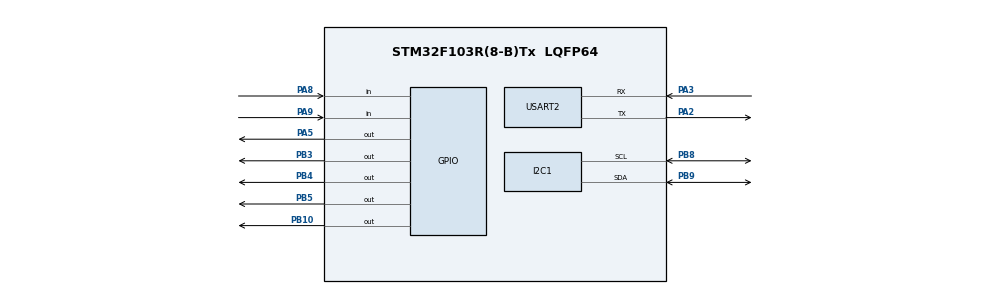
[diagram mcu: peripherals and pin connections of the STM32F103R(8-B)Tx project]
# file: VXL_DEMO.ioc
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Mcu.Family=STM32F1
Mcu.Name=STM32F103R(8-B)Tx
Mcu.Package=LQFP64
NVIC.PriorityGroup=NVIC_PRIORITYGROUP_4
NVIC.TIM2_IRQn=true\:0\:0\:false\:false\:true\:true\:true\:true
NVIC.USART2_IRQn=true\:0\:0\:false\:false\:true\:true\:true\:true
PA2.Mode=Asynchronous
PA2.Signal=USART2_TX
PA3.Mode=Asynchronous
PA3.Signal=USART2_RX
PA5.Signal=GPIO_Output
PA8.GPIO_PuPd=GPIO_PULLUP
PA8.Signal=GPIO_Input
PA9.GPIO_PuPd=GPIO_PULLUP
PA9.Signal=GPIO_Input
PB10.Signal=GPIO_Output
PB3.Signal=GPIO_Output
PB4.Signal=GPIO_Output
PB5.Signal=GPIO_Output
PB8.Mode=I2C
PB8.Signal=I2C1_SCL
PB9.Mode=I2C
PB9.Signal=I2C1_SDA
ProjectManager.HeapSize=0x200
ProjectManager.StackSize=0x400
ProjectManager.TargetToolchain=STM32CubeIDE
RCC.APB1Freq_Value=8000000
RCC.APB2Freq_Value=8000000
TIM2.Period=9
TIM2.Prescaler=7999
USART2.VirtualMode=VM_ASYNC
VP_SYS_VS_ND.Mode=No_Debug
VP_TIM2_VS_ClockSourceINT.Mode=Internal
board=custom

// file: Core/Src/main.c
/* USER CODE BEGIN Header */
/**
  ******************************************************************************
  * @file           : main.c
  * @brief          : Main program body
  ******************************************************************************
  * @attention
  *
  * Copyright (c) 2024 STMicroelectronics.
  * All rights reserved.
  *
  * This software is licensed under terms that can be found in the LICENSE file
  * in the root directory of this software component.
  * If no LICENSE file comes with this software, it is provided AS-IS.
  *
  ******************************************************************************
  */
/* USER CODE END Header */
#include "main.h"

/* USER CODE BEGIN Includes */
#include "global.h"
/* USER CODE END Includes */

/* USER CODE BEGIN PD */
#define MyI2C_LCD I2C_LCD_1
/* USER CODE END PD */

I2C_HandleTypeDef hi2c1;

TIM_HandleTypeDef htim2;

UART_HandleTypeDef huart2;

void SystemClock_Config(void);
static void MX_GPIO_Init(void);
static void MX_I2C1_Init(void);
static void MX_TIM2_Init(void);
static void MX_USART2_UART_Init(void);

/* USER CODE BEGIN 0 */
uint8_t tx_buffer[100] = "HELLO WORLD";
uint8_t rx_idx = 0;
uint8_t rx_data[6];
uint8_t rx_buffer[100];
uint8_t transfer_clpt;
/* USER CODE END 0 */

int main(void)
{

  /* MCU Configuration--------------------------------------------------------*/

  /* Reset of all peripherals, Initializes the Flash interface and the Systick. */
  HAL_Init();

  /* Configure the system clock */
  SystemClock_Config();

  /* Initialize all configured peripherals */
  MX_GPIO_Init();
  MX_I2C1_Init();
  MX_TIM2_Init();
  MX_USART2_UART_Init();
  /* USER CODE BEGIN 2 */
  HAL_TIM_Base_Start_IT (& htim2 );
  HAL_UART_Receive_IT(&huart2, rx_data, 1);
  /* USER CODE END 2 */

  /* Infinite loop */
  /* USER CODE BEGIN WHILE */
  SCH_Init();
  SCH_Add_Task(BlinkLed,0,1000);
  SCH_Add_Task(Run_Traffic_Light,0,100);
  //SCH_Add_Task(getKeyInput, 0 , 1);
  while (1)
  {
    /* USER CODE END WHILE */

    /* USER CODE BEGIN 3 */
	  SCH_Dispatch_Task() ;
  }
  /* USER CODE END 3 */
}

void SystemClock_Config(void)
{
  RCC_OscInitTypeDef RCC_OscInitStruct = {0};
  RCC_ClkInitTypeDef RCC_ClkInitStruct = {0};

  /** Initializes the RCC Oscillators according to the specified parameters
  * in the RCC_OscInitTypeDef structure.
  */
  RCC_OscInitStruct.OscillatorType = RCC_OSCILLATORTYPE_HSI;
  RCC_OscInitStruct.HSIState = RCC_HSI_ON;
  RCC_OscInitStruct.HSICalibrationValue = RCC_HSICALIBRATION_DEFAULT;
  RCC_OscInitStruct.PLL.PLLState = RCC_PLL_NONE;
  if (HAL_RCC_OscConfig(&RCC_OscInitStruct) != HAL_OK)
  {
    Error_Handler();
  }

  /** Initializes the CPU, AHB and APB buses clocks
  */
  RCC_ClkInitStruct.ClockType = RCC_CLOCKTYPE_HCLK|RCC_CLOCKTYPE_SYSCLK
                              |RCC_CLOCKTYPE_PCLK1|RCC_CLOCKTYPE_PCLK2;
  RCC_ClkInitStruct.SYSCLKSource = RCC_SYSCLKSOURCE_HSI;
  RCC_ClkInitStruct.AHBCLKDivider = RCC_SYSCLK_DIV1;
  RCC_ClkInitStruct.APB1CLKDivider = RCC_HCLK_DIV1;
  RCC_ClkInitStruct.APB2CLKDivider = RCC_HCLK_DIV1;

  if (HAL_RCC_ClockConfig(&RCC_ClkInitStruct, FLASH_LATENCY_0) != HAL_OK)
  {
    Error_Handler();
  }
}

static void MX_I2C1_Init(void)
{

  hi2c1.Instance = I2C1;
  hi2c1.Init.ClockSpeed = 100000;
  hi2c1.Init.DutyCycle = I2C_DUTYCYCLE_2;
  hi2c1.Init.OwnAddress1 = 0;
  hi2c1.Init.AddressingMode = I2C_ADDRESSINGMODE_7BIT;
  hi2c1.Init.DualAddressMode = I2C_DUALADDRESS_DISABLE;
  hi2c1.Init.OwnAddress2 = 0;
  hi2c1.Init.GeneralCallMode = I2C_GENERALCALL_DISABLE;
  hi2c1.Init.NoStretchMode = I2C_NOSTRETCH_DISABLE;
  if (HAL_I2C_Init(&hi2c1) != HAL_OK)
  {
    Error_Handler();
  }

}

static void MX_TIM2_Init(void)
{

  TIM_ClockConfigTypeDef sClockSourceConfig = {0};
  TIM_MasterConfigTypeDef sMasterConfig = {0};

  htim2.Instance = TIM2;
  htim2.Init.Prescaler = 7999;
  htim2.Init.CounterMode = TIM_COUNTERMODE_UP;
  htim2.Init.Period = 9;
  htim2.Init.ClockDivision = TIM_CLOCKDIVISION_DIV1;
  htim2.Init.AutoReloadPreload = TIM_AUTORELOAD_PRELOAD_DISABLE;
  if (HAL_TIM_Base_Init(&htim2) != HAL_OK)
  {
    Error_Handler();
  }
  sClockSourceConfig.ClockSource = TIM_CLOCKSOURCE_INTERNAL;
  if (HAL_TIM_ConfigClockSource(&htim2, &sClockSourceConfig) != HAL_OK)
  {
    Error_Handler();
  }
  sMasterConfig.MasterOutputTrigger = TIM_TRGO_RESET;
  sMasterConfig.MasterSlaveMode = TIM_MASTERSLAVEMODE_DISABLE;
  if (HAL_TIMEx_MasterConfigSynchronization(&htim2, &sMasterConfig) != HAL_OK)
  {
    Error_Handler();
  }

}

static void MX_USART2_UART_Init(void)
{

  huart2.Instance = USART2;
  huart2.Init.BaudRate = 115200;
  huart2.Init.WordLength = UART_WORDLENGTH_8B;
  huart2.Init.StopBits = UART_STOPBITS_1;
  huart2.Init.Parity = UART_PARITY_NONE;
  huart2.Init.Mode = UART_MODE_TX_RX;
  huart2.Init.HwFlowCtl = UART_HWCONTROL_NONE;
  huart2.Init.OverSampling = UART_OVERSAMPLING_16;
  if (HAL_UART_Init(&huart2) != HAL_OK)
  {
    Error_Handler();
  }

}

static void MX_GPIO_Init(void)
{
  GPIO_InitTypeDef GPIO_InitStruct = {0};

  /* GPIO Ports Clock Enable */
  __HAL_RCC_GPIOA_CLK_ENABLE();
  __HAL_RCC_GPIOB_CLK_ENABLE();

  /*Configure GPIO pin Output Level */
  HAL_GPIO_WritePin(GPIOA, GPIO_PIN_5, GPIO_PIN_RESET);

  /*Configure GPIO pin Output Level */
  HAL_GPIO_WritePin(GPIOB, GPIO_PIN_10|GPIO_PIN_3|GPIO_PIN_4|GPIO_PIN_5, GPIO_PIN_RESET);

  /*Configure GPIO pin : PA5 */
  GPIO_InitStruct.Pin = GPIO_PIN_5;
  GPIO_InitStruct.Mode = GPIO_MODE_OUTPUT_PP;
  GPIO_InitStruct.Pull = GPIO_NOPULL;
  GPIO_InitStruct.Speed = GPIO_SPEED_FREQ_LOW;
  HAL_GPIO_Init(GPIOA, &GPIO_InitStruct);

  /*Configure GPIO pins : PB10 PB3 PB4 PB5 */
  GPIO_InitStruct.Pin = GPIO_PIN_10|GPIO_PIN_3|GPIO_PIN_4|GPIO_PIN_5;
  GPIO_InitStruct.Mode = GPIO_MODE_OUTPUT_PP;
  GPIO_InitStruct.Pull = GPIO_NOPULL;
  GPIO_InitStruct.Speed = GPIO_SPEED_FREQ_LOW;
  HAL_GPIO_Init(GPIOB, &GPIO_InitStruct);

  /*Configure GPIO pins : PA8 PA9 */
  GPIO_InitStruct.Pin = GPIO_PIN_8|GPIO_PIN_9;
  GPIO_InitStruct.Mode = GPIO_MODE_INPUT;
  GPIO_InitStruct.Pull = GPIO_PULLUP;
  HAL_GPIO_Init(GPIOA, &GPIO_InitStruct);

}

/* USER CODE BEGIN 4 */
void HAL_TIM_PeriodElapsedCallback(TIM_HandleTypeDef *htim){
	//timer_run();
	SCH_Update();
	getKeyInput();
}

void HAL_UART_RxCpltCallback(UART_HandleTypeDef *huart)
{
    UNUSED(huart);

    if (huart->Instance == USART2) {
        if (rx_data[0] != 13) {  //if not enter
            rx_buffer[rx_idx++] = rx_data[0];  // save in bufer
            if (rx_idx >= 100) rx_idx = 0;
        } else {
            rx_buffer[rx_idx] = '\0'; // Kết thúc chuỗi
            transfer_clpt = 1;
            HAL_UART_Transmit(&huart2, "\n\r", 2, 100);

            // So sánh lệnh:
            if (!strcmp(rx_buffer, "SHOW TIME")) {
                uart_mode1 = 1;
            } else if (!strcmp(rx_buffer, "END")) {
                uart_mode1 = 0;
            } else if (!strcmp(rx_buffer, "MANUAL")) {
                ResetLight1();
                ResetLight2();
                status1 = RED_GREEN_MAN;
                status2 = RED_GREEN_MAN;
                count1 = 10 * scale;
                count2 = 1;
            } else if (!strcmp(rx_buffer, "AUTO")) {
                status1 = INIT;
                status2 = INIT;
            } else if (status1 / 20 == 1 && !strcmp(rx_buffer, "1")) {
                uart_press = 1;
            } else {
                HAL_UART_Transmit(&huart2, "SYNTAX ERROR\n\r", 14, 100);
            }

            rx_idx = 0; // Reset để nhập lệnh mới
        }

        HAL_UART_Transmit(&huart2, rx_data, 1, 100);
        HAL_UART_Receive_IT(&huart2, rx_data, 1); // Chuẩn bị nhận tiếp
    }
}
/* USER CODE END 4 */

void Error_Handler(void)
{
  __disable_irq();
  while (1)
  {
  }
}
